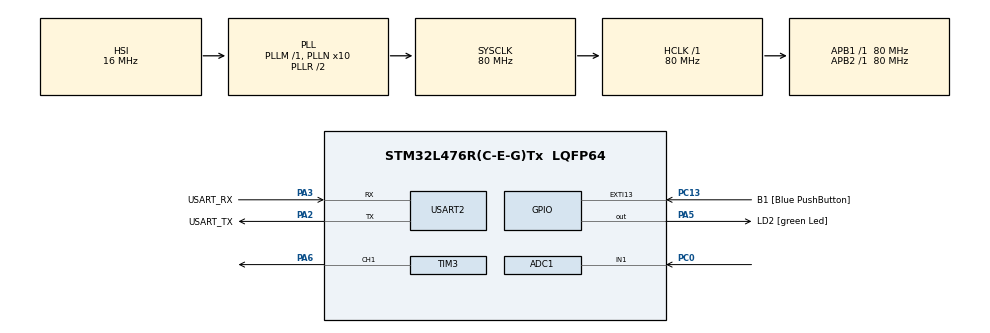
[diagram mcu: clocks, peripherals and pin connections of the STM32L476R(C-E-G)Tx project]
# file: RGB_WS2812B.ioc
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ADC1.Channel-3\#ChannelRegularConversion=ADC_CHANNEL_1
ADC1.ContinuousConvMode=DISABLE
ADC1.DMAContinuousRequests=ENABLE
ADC1.ExternalTrigConv=ADC_EXTERNALTRIG_T6_TRGO
ADC1.NbrOfConversionFlag=1
ADC1.OffsetNumber-3\#ChannelRegularConversion=ADC_OFFSET_NONE
ADC1.Overrun=ADC_OVR_DATA_PRESERVED
ADC1.Rank-3\#ChannelRegularConversion=1
ADC1.SamplingTime-3\#ChannelRegularConversion=ADC_SAMPLETIME_6CYCLES_5
ADC1.master=1
Dma.ADC1.1.Direction=DMA_PERIPH_TO_MEMORY
Dma.ADC1.1.Instance=DMA1_Channel1
Dma.ADC1.1.MemDataAlignment=DMA_MDATAALIGN_HALFWORD
Dma.ADC1.1.MemInc=DMA_MINC_ENABLE
Dma.ADC1.1.Mode=DMA_CIRCULAR
Dma.ADC1.1.PeriphDataAlignment=DMA_PDATAALIGN_HALFWORD
Dma.ADC1.1.PeriphInc=DMA_PINC_DISABLE
Dma.ADC1.1.Priority=DMA_PRIORITY_HIGH
Dma.Request0=TIM3_CH1/TRIG
Dma.Request1=ADC1
Dma.TIM3_CH1/TRIG.0.Direction=DMA_MEMORY_TO_PERIPH
Dma.TIM3_CH1/TRIG.0.Instance=DMA1_Channel6
Dma.TIM3_CH1/TRIG.0.MemDataAlignment=DMA_MDATAALIGN_BYTE
Dma.TIM3_CH1/TRIG.0.MemInc=DMA_MINC_ENABLE
Dma.TIM3_CH1/TRIG.0.Mode=DMA_NORMAL
Dma.TIM3_CH1/TRIG.0.PeriphDataAlignment=DMA_PDATAALIGN_HALFWORD
Dma.TIM3_CH1/TRIG.0.PeriphInc=DMA_PINC_DISABLE
Dma.TIM3_CH1/TRIG.0.Priority=DMA_PRIORITY_LOW
Mcu.Family=STM32L4
Mcu.Name=STM32L476R(C-E-G)Tx
Mcu.Package=LQFP64
NVIC.DMA1_Channel1_IRQn=true\:0\:0\:false\:false\:true\:false\:true\:true
NVIC.DMA1_Channel6_IRQn=true\:0\:0\:false\:false\:true\:false\:true\:true
NVIC.PriorityGroup=NVIC_PRIORITYGROUP_4
PA13\ (JTMS-SWDIO).GPIO_Label=TMS
PA13\ (JTMS-SWDIO).Mode=Serial_Wire
PA13\ (JTMS-SWDIO).Signal=SYS_JTMS-SWDIO
PA14\ (JTCK-SWCLK).GPIO_Label=TCK
PA14\ (JTCK-SWCLK).Mode=Serial_Wire
PA14\ (JTCK-SWCLK).Signal=SYS_JTCK-SWCLK
PA2.GPIO_Label=USART_TX
PA2.GPIO_Mode=GPIO_MODE_AF_PP
PA2.GPIO_PuPd=GPIO_NOPULL
PA2.GPIO_Speed=GPIO_SPEED_FREQ_VERY_HIGH
PA2.Mode=Asynchronous
PA2.Signal=USART2_TX
PA3.GPIO_Label=USART_RX
PA3.GPIO_Mode=GPIO_MODE_AF_PP
PA3.GPIO_PuPd=GPIO_NOPULL
PA3.GPIO_Speed=GPIO_SPEED_FREQ_VERY_HIGH
PA3.Mode=Asynchronous
PA3.Signal=USART2_RX
PA5.GPIO_Label=LD2 [green Led]
PA5.GPIO_ModeDefaultOutputPP=GPIO_MODE_OUTPUT_PP
PA5.GPIO_PuPd=GPIO_NOPULL
PA5.GPIO_Speed=GPIO_SPEED_FREQ_LOW
PA5.Signal=GPIO_Output
PA6.Signal=S_TIM3_CH1
PB3\ (JTDO-TRACESWO).GPIO_Label=SWO
PB3\ (JTDO-TRACESWO).Signal=SYS_JTDO-SWO
PC0.Signal=ADCx_IN1
PC13.GPIO_Label=B1 [Blue PushButton]
PC13.GPIO_ModeDefaultEXTI=GPIO_MODE_IT_FALLING
PC13.GPIO_PuPd=GPIO_NOPULL
PC13.Signal=GPXTI13
PC14-OSC32_IN\ (PC14).Mode=LSE-External-Oscillator
PC14-OSC32_IN\ (PC14).Signal=RCC_OSC32_IN
PC15-OSC32_OUT\ (PC15).Mode=LSE-External-Oscillator
PC15-OSC32_OUT\ (PC15).Signal=RCC_OSC32_OUT
PH0-OSC_IN\ (PH0).Signal=RCC_OSC_IN
PH1-OSC_OUT\ (PH1).Signal=RCC_OSC_OUT
ProjectManager.HeapSize=0x200
ProjectManager.StackSize=0x400
ProjectManager.TargetToolchain=STM32CubeIDE
RCC.ADCFreq_Value=64000000
RCC.AHBFreq_Value=80000000
RCC.APB1Freq_Value=80000000
RCC.APB1TimFreq_Value=80000000
RCC.APB2Freq_Value=80000000
RCC.APB2TimFreq_Value=80000000
RCC.CortexFreq_Value=80000000
RCC.HCLKFreq_Value=80000000
RCC.HSE_VALUE=8000000
RCC.HSI_VALUE=16000000
RCC.MSI_VALUE=4000000
RCC.PLLN=10
RCC.PLLSourceVirtual=RCC_PLLSOURCE_HSI
RCC.PREFETCH_ENABLE=1
RCC.SYSCLKFreq_VALUE=80000000
RCC.SYSCLKSource=RCC_SYSCLKSOURCE_PLLCLK
RCC.USBFreq_Value=64000000
RCC.VCOOutputFreq_Value=160000000
SH.ADCx_IN1.0=ADC1_IN1,IN1-Single-Ended
SH.S_TIM3_CH1.0=TIM3_CH1,PWM Generation1 CH1
TIM3.Channel-PWM\ Generation1\ CH1=TIM_CHANNEL_1
TIM3.Period=99
TIM6.AutoReloadPreload=TIM_AUTORELOAD_PRELOAD_ENABLE
TIM6.Period=1999
TIM6.Prescaler=0
TIM6.TIM_MasterOutputTrigger=TIM_TRGO_UPDATE
USART2.VirtualMode-Asynchronous=VM_ASYNC
VP_TIM3_VS_ClockSourceINT.Mode=Internal
VP_TIM6_VS_ClockSourceINT.Mode=Enable_Timer
board=NUCLEO-L476RG

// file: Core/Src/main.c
/* USER CODE BEGIN Header */
/**
  ******************************************************************************
  * @file           : main.c
  * @brief          : Main program body
  ******************************************************************************
  * @attention
  *
  * Copyright (c) 2023 STMicroelectronics.
  * All rights reserved.
  *
  * This software is licensed under terms that can be found in the LICENSE file
  * in the root directory of this software component.
  * If no LICENSE file comes with this software, it is provided AS-IS.
  *
  ******************************************************************************
  */
/* USER CODE END Header */
#include "main.h"
#include "adc.h"
#include "dma.h"
#include "tim.h"
#include "usart.h"
#include "gpio.h"

/* USER CODE BEGIN Includes */
#define ARM_MATH_CM4
#include "arm_math.h"
#include <stdlib.h>
#include "ws2812b.h"
#include <stdio.h>
#include <stdlib.h>
#include "ws2812b.h"
/* USER CODE END Includes */

/* USER CODE BEGIN PTD */
#define NUM_BANDS 8
#define SAMPLE_RATE 40000
#define F_SIZE 1024
/* USER CODE END PTD */

/* USER CODE BEGIN PV */

const uint8_t gamma8[] = {
    0,  0,  0,  0,  0,  0,  0,  0,  0,  0,  0,  0,  0,  0,  0,  0,
    0,  0,  0,  0,  0,  0,  0,  0,  0,  0,  0,  0,  1,  1,  1,  1,
    1,  1,  1,  1,  1,  1,  1,  1,  1,  2,  2,  2,  2,  2,  2,  2,
    2,  3,  3,  3,  3,  3,  3,  3,  4,  4,  4,  4,  4,  5,  5,  5,
    5,  6,  6,  6,  6,  7,  7,  7,  7,  8,  8,  8,  9,  9,  9, 10,
   10, 10, 11, 11, 11, 12, 12, 13, 13, 13, 14, 14, 15, 15, 16, 16,
   17, 17, 18, 18, 19, 19, 20, 20, 21, 21, 22, 22, 23, 24, 24, 25,
   25, 26, 27, 27, 28, 29, 29, 30, 31, 32, 32, 33, 34, 35, 35, 36,
   37, 38, 39, 39, 40, 41, 42, 43, 44, 45, 46, 47, 48, 49, 50, 50,
   51, 52, 54, 55, 56, 57, 58, 59, 60, 61, 62, 63, 64, 66, 67, 68,
   69, 70, 72, 73, 74, 75, 77, 78, 79, 81, 82, 83, 85, 86, 87, 89,
   90, 92, 93, 95, 96, 98, 99,101,102,104,105,107,109,110,112,114,
  115,117,119,120,122,124,126,127,129,131,133,135,137,138,140,142,
  144,146,148,150,152,154,156,158,160,162,164,167,169,171,173,175,
  177,180,182,184,186,189,191,193,196,198,200,203,205,208,210,213,
  215,218,220,223,225,228,231,233,236,239,241,244,247,249,252,255 };
uint16_t fourier[F_SIZE];
float fftBufIn[F_SIZE];
float fftBufOut[F_SIZE];

volatile uint8_t data_ready = 0;
uint8_t fftFlag = 0;
float peakVal = 0.0f;
uint16_t peakHz = 0;
arm_rfft_fast_instance_f32 fftHandler;

//------------------------------------------------------------------------------

#define SAMPLE_BUFFER_LENGTH        1024
#define SAMPLE_BUFFER_LENGTH_HALF   (SAMPLE_BUFFER_LENGTH/2)
#define SAMPLING_RATE               40000

float fft_input[SAMPLE_BUFFER_LENGTH];
float fft_output[SAMPLE_BUFFER_LENGTH];
float fft_power[SAMPLE_BUFFER_LENGTH_HALF];

uint8_t     ifftFlag                = 0;
float       frequency_resolution    = (float)SAMPLING_RATE / (float)SAMPLE_BUFFER_LENGTH;
/* USER CODE END PV */

void SystemClock_Config(void);

/* USER CODE BEGIN 0 */

int __io_putchar(int ch)
{
  if (ch == '\n') {
    __io_putchar('\r');
  }

  HAL_UART_Transmit(&huart2, (uint8_t*)&ch, 1, HAL_MAX_DELAY);

  return 1;
}

/*void HAL_ADC_ConvHalfCpltCallback(ADC_HandleTypeDef* hadc)
{
	__NOP();
}*/

void HAL_ADC_ConvCpltCallback(ADC_HandleTypeDef* hadc)
{
    for(int i=0; i<F_SIZE; i++)
    {
    	//fft_input[i] = (float)(fourier[i]*(3.3/4096));
    }
    data_ready = 1;

}
/* USER CODE END 0 */

int main(void)
{

  /* MCU Configuration--------------------------------------------------------*/

  /* Reset of all peripherals, Initializes the Flash interface and the Systick. */
  HAL_Init();

  /* Configure the system clock */
  SystemClock_Config();

  /* Initialize all configured peripherals */
  MX_GPIO_Init();
  MX_DMA_Init();
  MX_USART2_UART_Init();
  MX_TIM3_Init();
  MX_ADC1_Init();
  MX_TIM6_Init();

  /* Infinite loop */
  /* USER CODE BEGIN WHILE */

  /* USER CODE BEGIN 2 */
  //HAL_TIM_Base_Start(&htim3);
  //HAL_TIM_PWM_Start_DMA(&htim3, TIM_CHANNEL_1, &test, sizeof(test));
  /* USER CODE END 2 */
  ws2812b_init();
  //arm_rfft_fast_init_f32(&fftHandler, F_SIZE);
  //HAL_ADCEx_Calibration_Start(&hadc1, ADC_SINGLE_ENDED);
  HAL_ADC_Start_DMA(&hadc1, (uint32_t*)fourier, F_SIZE);
  HAL_TIM_Base_Start(&htim6);

  while (1)
  {
	  /* write signal to array */
	     for (int i = 0; i < SAMPLE_BUFFER_LENGTH; i++) {
	         float r = (float)i / (float)SAMPLING_RATE;
	         r *= 3.14159265359 * 2;
	         r *= 10000; // frequency in Hz
	         float s = sin(r) + sin(r * 4) * 0.5 + sin(r * 3) * 0.25;
	         fft_input[i] = s;
	     }
	    // if(data_ready)
	     //{
	    	 arm_rfft_fast_instance_f32 fft;
	    		     arm_rfft_fast_init_f32(&fft, SAMPLE_BUFFER_LENGTH);
	    		     arm_rfft_fast_f32(&fft, fft_input, fft_output, ifftFlag);
	    		     arm_cmplx_mag_f32(fft_output, fft_power, SAMPLE_BUFFER_LENGTH_HALF);
	    		     float suma = 0;
	    		     for (int i = 1; i < SAMPLE_BUFFER_LENGTH_HALF; i++) {
	    		         /*printf("%i\tfrq: %.1f\tenergy %.6f\r\n", i, i * frequency_resolution, fft_power[i]);*/
	    		         if(i<20)
	    		         {
	    		         suma+=fft_power[i];
	    		         }
	    		         float32_t   maxValue;
	    		         uint16_t    maxIndex;
	    		         arm_max_f32(fft_power, SAMPLE_BUFFER_LENGTH_HALF, &maxValue, &maxIndex);
	    		         printf("max power: %f\r\n", maxValue);
	    		         printf("max index: %i\r\n", maxIndex);
	    		         printf("frequency: %f\r\n", (maxIndex * frequency_resolution));
	    		         //HAL_Delay(100);
	    		     }
	    		    // int sum = suma;
	    		     /*for(int i=0; i <2; i++)
	    		     {
	    		     printf("2suma %f\n", suma);
	    		     //HAL_Delay(10);
	    		     }*/
	    		     if(suma>100)
	    		     	        	  {
	    		     	        		  uint8_t r = gamma8[rand() % 256];
	    		     	        		  	  uint8_t g = gamma8[rand() % 256];
	    		     	        		  	  uint8_t b = gamma8[rand() % 256];

	    		     	        		      for (int led = 0; led < 24; led++)
	    		     	        		      {
	    		     	        		        ws2812b_set_color(led, r, g, b);
	    		     	        		        ws2812b_update();

	    		     	        		      }
	    		     	        		     HAL_Delay(10);

	    		     	        	  }

	    		     /* find dominant frequency */
	    		    // float32_t   maxValue;
	    		     //uint16_t    maxIndex;
	    		   //  uint16_t sum=0;

	    		    //
	    		    /*for (int i =1; i<10; i++)
	    		     {
	    		    	 sum+=fft_power[i];
	    		    	 if(sum>20)
	    		    	 {
	    		    		 printf("test sum = %lu\n", sum);
	    		    		 //HAL_Delay(1000);
	    		    	 }
	    		    	 else
	    		    	 {
	    		    		 printf("wiecej niz 1kHz = %lu\n", sum);
	    		    	 }
	    		     }
	    		     printf("\r\n");*/
	    		     //printf("max power: %f\r\n", maxValue);
	    		     //printf("max index: %i\r\n", maxIndex);
	    		     //printf("frequency: %f\r\n", (maxIndex * frequency_resolution));

	     /*} data_ready = 0;*/

	     /* analyze signal */

  }
	        // HAL_Delay(500);
	     //    data_ready = 0;
	        /* int val = maxValue;
	        	  if(val<1000)
	        	  {
	        		  uint8_t r = gamma8[rand() % 256];
	        		  	  uint8_t g = gamma8[rand() % 256];
	        		  	  uint8_t b = gamma8[rand() % 256];

	        		      for (int led = 0; led < 24; led++)
	        		      {
	        		        ws2812b_set_color(led, r, g, b);
	        		        ws2812b_update();
	        		        HAL_Delay(1);
	        		      }
	        	  }*/
	        // HAL_Delay(500);

	 /* if(data_ready)
	  {
		  arm_rfft_fast_f32(&fftHandler, &fftBufIn, &fftBufOut, 0);
	  }
	  data_ready = 0;

	  fftFlag = 1;

	  if(fftFlag)
	  {
		  peakVal = 0.0f;
		  peakHz = 0.0f;

		  uint16_t freq_Index = 0;

		  for(int i = 0; i<F_SIZE; i+=2)
		  {
			  float CurVal = sqrtf((fftBufOut[i]*fftBufOut[i])+(fftBufOut[i+1]*fftBufOut[i+1]));

			  if(CurVal>peakVal)
			  {
				  peakVal = CurVal;
				  peakHz = (uint16_t) (freq_Index*SAMPLE_RATE)/((float)F_SIZE);
			  }
			  freq_Index++;
		  }
	  }
	  printf("peakHz = %lu\n", peakHz);
	  HAL_Delay(10);*/
	//  HAL_Delay(100);

	  /*for(int i=0; i<1024; i++)
	  {
		  printf("f[%d] = %lu\n",i,fourier[i]);
	  }*/
	  /*uint8_t r = gamma8[rand() % 256];
	  uint8_t g = gamma8[rand() % 256];
	  uint8_t b = gamma8[rand() % 256];

    for (int led = 0; led < 24; led++)
    {
      ws2812b_set_color(led, r, g, b);
      ws2812b_update();
      HAL_Delay(100);
    }*/

   // HAL_Delay(1000);

    /* USER CODE END WHILE */

}

void SystemClock_Config(void)
{
  RCC_OscInitTypeDef RCC_OscInitStruct = {0};
  RCC_ClkInitTypeDef RCC_ClkInitStruct = {0};

  /** Configure the main internal regulator output voltage
  */
  if (HAL_PWREx_ControlVoltageScaling(PWR_REGULATOR_VOLTAGE_SCALE1) != HAL_OK)
  {
    Error_Handler();
  }

  /** Initializes the RCC Oscillators according to the specified parameters
  * in the RCC_OscInitTypeDef structure.
  */
  RCC_OscInitStruct.OscillatorType = RCC_OSCILLATORTYPE_HSI;
  RCC_OscInitStruct.HSIState = RCC_HSI_ON;
  RCC_OscInitStruct.HSICalibrationValue = RCC_HSICALIBRATION_DEFAULT;
  RCC_OscInitStruct.PLL.PLLState = RCC_PLL_ON;
  RCC_OscInitStruct.PLL.PLLSource = RCC_PLLSOURCE_HSI;
  RCC_OscInitStruct.PLL.PLLM = 1;
  RCC_OscInitStruct.PLL.PLLN = 10;
  RCC_OscInitStruct.PLL.PLLP = RCC_PLLP_DIV7;
  RCC_OscInitStruct.PLL.PLLQ = RCC_PLLQ_DIV2;
  RCC_OscInitStruct.PLL.PLLR = RCC_PLLR_DIV2;
  if (HAL_RCC_OscConfig(&RCC_OscInitStruct) != HAL_OK)
  {
    Error_Handler();
  }

  /** Initializes the CPU, AHB and APB buses clocks
  */
  RCC_ClkInitStruct.ClockType = RCC_CLOCKTYPE_HCLK|RCC_CLOCKTYPE_SYSCLK
                              |RCC_CLOCKTYPE_PCLK1|RCC_CLOCKTYPE_PCLK2;
  RCC_ClkInitStruct.SYSCLKSource = RCC_SYSCLKSOURCE_PLLCLK;
  RCC_ClkInitStruct.AHBCLKDivider = RCC_SYSCLK_DIV1;
  RCC_ClkInitStruct.APB1CLKDivider = RCC_HCLK_DIV1;
  RCC_ClkInitStruct.APB2CLKDivider = RCC_HCLK_DIV1;

  if (HAL_RCC_ClockConfig(&RCC_ClkInitStruct, FLASH_LATENCY_4) != HAL_OK)
  {
    Error_Handler();
  }
}

void Error_Handler(void)
{
  __disable_irq();
  while (1)
  {
  }
}
